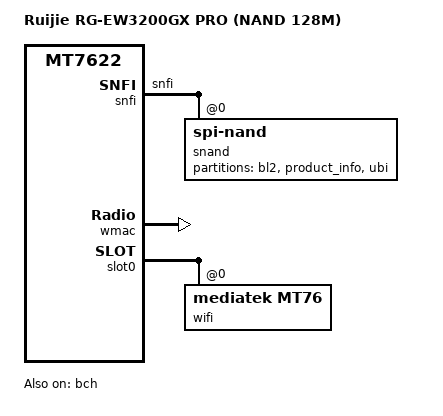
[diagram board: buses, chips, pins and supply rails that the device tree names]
// SPDX-License-Identifier: GPL-2.0-or-later OR MIT

/dts-v1/;
#include "mt7622-ruijie-rg-ew3200.dtsi"
#include <dt-bindings/pinctrl/mt65xx.h>


/ {
	model = "Ruijie RG-EW3200GX PRO (NAND 128M)";
	compatible = "ruijie,rg-ew3200gx-pro-ubootmod", "mediatek,mt7622";

	chosen {
		rootdisk = <&ubi_rootfs>;
		bootargs = "earlycon=uart8250,mmio32,0x11002000 console=ttyS0,115200n1 swiotlb=512 ubi.block=0,fit root=/dev/fit0 rootwait";
	};
};

&snfi {
	pinctrl-names = "default";
	pinctrl-0 = <&serial_nand_pins>;
	status = "okay";
	
	snand: flash@0 {
		compatible = "spi-nand";
		reg = <0>;
		spi-tx-bus-width = <4>;
		spi-rx-bus-width = <4>;
		nand-ecc-engine = <&snfi>;

		partitions {
			compatible = "fixed-partitions";
			#address-cells = <1>;
			#size-cells = <1>;

			partition@0 {
				label = "bl2";
				reg = <0x00000 0x80000>;
				read-only;
			};

			partition@80000 {
				label = "product_info";
				reg = <0x80000 0x20000>;
			};

			partition@100000 {
				label = "ubi";
				reg = <0x100000 0x7f60000>;
				compatible = "linux,ubi";

				volumes {
					ubi-volume-ubootenv {
						volname = "ubootenv";
						nvmem-layout {
							compatible = "u-boot,env-redundant-bool";
						};
					};

					ubi-volume-ubootenv2 {
						volname = "ubootenv2";
						nvmem-layout {
							compatible = "u-boot,env-redundant-bool";
						};
					};

					ubi_rootfs: ubi-volume-fit {
						volname = "fit";
					};

					ubi_factory: ubi-volume-factory {
						volname = "factory";
					};
				};
			};
		};
	};
};

&ubi_factory {
	nvmem-layout {
		compatible = "fixed-layout";
		#address-cells = <1>;
		#size-cells = <1>;

		eeprom_factory_0: eeprom@0 {
			reg = <0x0 0x4da8>; /* actual length 0x400 */
		};

		eeprom_factory_5000: eeprom@5000 {
			reg = <0x5000 0xe00>;
		};
	};
};

&wmac {
	status = "okay";
	pinctrl-names = "default";
	pinctrl-0 = <&epa_elna_pins>;
	nvmem-cells = <&eeprom_factory_0>;
	nvmem-cell-names = "eeprom";
};

&slot0 {
	wifi@0,0 {
		compatible = "mediatek,mt76";
		reg = <0x0000 0 0 0 0>;
		nvmem-cells = <&eeprom_factory_5000>;
		nvmem-cell-names = "eeprom";
		ieee80211-freq-limit = <5000000 6000000>;
		mediatek,disable-radar-background;
	};
};

&pio {
	/* serial NAND is shared pin with SPI-NOR */
	serial_nand_pins: serial-nand-pins {
		mux {
			function = "flash";
			groups = "snfi";
		};
	};
};

&bch {
	status = "okay";
};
